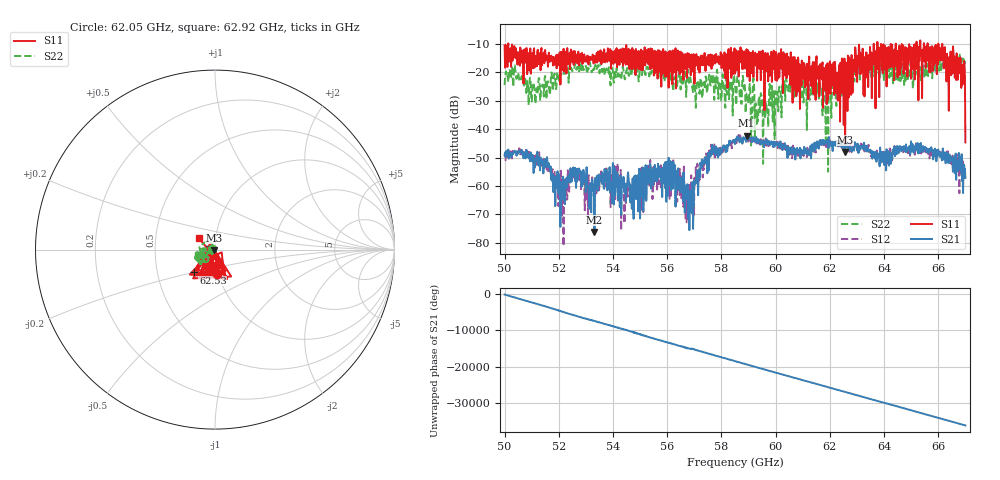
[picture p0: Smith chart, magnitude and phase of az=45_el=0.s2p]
!Created with skrf (http://scikit-rf.org).
# GHz S RI R 50.0
!freq ReS11 ImS11 ReS21 ImS21 ReS12 ImS12 ReS22 ImS22
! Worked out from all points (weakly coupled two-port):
!   1001 points, 50 GHz to 67 GHz, reference 50 ohm
!   highest |S21| = -42.27 dB at 58.92 GHz (marker M1); lowest = -76.1 dB at 53.31 GHz (marker M2)
!   lowest |S11| = -48.0 dB at 62.56 GHz (marker M3), VSWR 1.01, Z = 49.7 - j0.202 ohm
!   |S11| at or under -10 dB: 50.14 GHz to 63.62 GHz (13.48 GHz wide, 23.7 % of centre); 64.43 GHz to 65.19 GHz (761.4 MHz wide, 1.17 % of centre); 66.15 GHz to end of sweep (the widest 3 of 12)
!   |S22| runs from -55.0 to -13.8 dB; largest |S21 - S12| = 0.0022
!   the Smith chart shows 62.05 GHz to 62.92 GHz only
!   S11 on the Smith chart (normalised r, x): 62.05 GHz: 0.98, -0.27; 62.53 GHz: 0.76, -0.20; 62.92 GHz: 0.83, +0.11
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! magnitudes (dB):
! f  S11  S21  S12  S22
! 50 GHz  -10.4  -49.0  -49.6  -24.5
! 51.24 GHz  -17.1  -52.5  -50.9  -24.0
! 52.09 GHz  -12.8  -62.1  -61.4  -20.7
! 52.84 GHz  -14.6  -60.3  -60.0  -19.2
! 53.31 GHz  -14.2  -76.1  -74.1  -18.6
! 54.73 GHz  -13.4  -57.5  -57.2  -18.7
! 55.68 GHz  -14.0  -57.0  -59.1  -22.6
! 56.88 GHz  -13.7  -66.5  -56.2  -24.1
! 57.31 GHz  -14.8  -52.4  -57.0  -27.2
! 58.5 GHz  -20.5  -45.3  -44.1  -24.8
! 58.92 GHz  -11.9  -42.3  -43.0  -27.8
! 59.61 GHz  -13.4  -44.7  -45.3  -35.8
! 60.64 GHz  -14.6  -48.4  -45.8  -22.3
! 61.34 GHz  -24.8  -45.3  -46.4  -25.1
! 62.05 GHz  -17.2  -46.0  -45.5  -36.0
! 62.53 GHz  -15.2  -45.6  -45.3  -18.9
! 62.56 GHz  -48.0  -47.6  -45.2  -19.5
! 62.92 GHz  -19.2  -44.5  -45.8  -19.9
! 64.18 GHz  -18.4  -52.8  -50.6  -18.4
! 66.08 GHz  -15.6  -48.6  -48.0  -15.6
! 66.9 GHz  -17.2  -55.5  -57.0  -15.2
! 67 GHz  -44.7  -57.1  -53.0  -15.9
